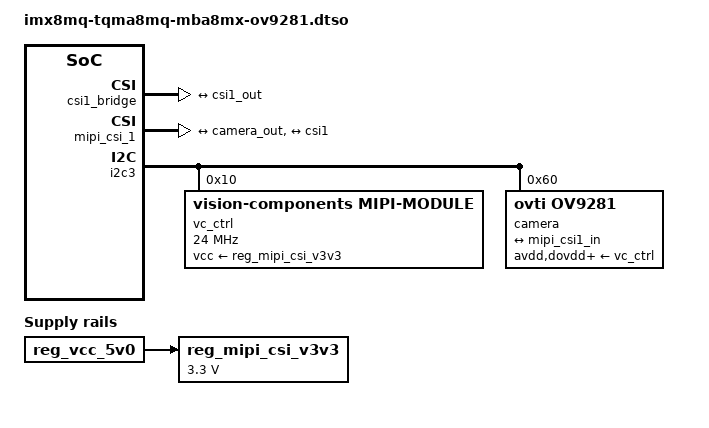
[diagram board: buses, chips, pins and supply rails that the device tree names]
// SPDX-License-Identifier: (GPL-2.0-or-later OR MIT)
/*
 * Copyright (c) 2021-2024 TQ-Systems GmbH <linux@ew.tq-group.com>,
 * D-82229 Seefeld, Germany.
 * Author: Alexander Stein
 */

/dts-v1/;
/plugin/;

#include <dt-bindings/clock/imx8mq-clock.h>

&{/} {
	/* This voltage converter is located on the adapter board MBaxCA */
	reg_mipi_csi_v3v3: regulator-mipi-csi-v3v3 {
		compatible = "regulator-fixed";
		regulator-name = "MIPI_CSI_V_3V3";
		regulator-min-microvolt = <3300000>;
		regulator-max-microvolt = <3300000>;
		vin-supply = <&reg_vcc_5v0>;
	};
};

&csi1_bridge {
	fsl,mipi-mode;
	status = "okay";

	port {
		csi1: endpoint {
			remote-endpoint = <&csi1_out>;
		};
	};
};

&mipi_csi_1 {
	assigned-clocks = <&clk IMX8MQ_CLK_CSI1_CORE>,
			  <&clk IMX8MQ_CLK_CSI1_PHY_REF>,
			  <&clk IMX8MQ_CLK_CSI1_ESC>;
	assigned-clock-rates = <266000000>, <333000000>, <66000000>;
	status = "okay";

	port {
		#address-cells = <1>;
		#size-cells = <0>;

		mipi_csi1_in: endpoint@0 {
			reg = <0>;
			remote-endpoint = <&camera_out>;
			data-lanes = <1 2>;
			bus-type = <4>;
		};

		csi1_out: endpoint@1 {
			reg = <1>;
			remote-endpoint = <&csi1>;
		};
	};
};

&i2c3 {
	#address-cells = <1>;
	#size-cells = <0>;

	vc_ctrl: controller@10 {
		compatible = "vision-components,mipi-module";
		reg = <0x10>;
		#clock-cells = <0>;
		vcc-supply = <&reg_mipi_csi_v3v3>;
		clock-frequency = <24000000>;
	};

	camera@60 {
		compatible = "ovti,ov9281";
		reg = <0x60>;
		clocks = <&vc_ctrl>;

		avdd-supply = <&vc_ctrl>;
		dovdd-supply = <&vc_ctrl>;
		dvdd-supply = <&vc_ctrl>;

		port {
			camera_out: endpoint {
				remote-endpoint = <&mipi_csi1_in>;
				data-lanes = <1 2>;
				clock-lanes = <0>;
				clock-noncontinuous = <1>;
				link-frequencies = /bits/ 64 <400000000>;
			};
		};
	};
};
